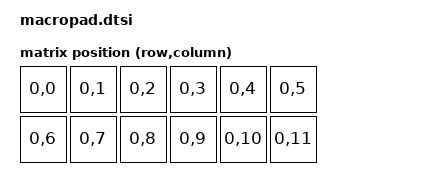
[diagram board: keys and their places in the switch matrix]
#include <dt-bindings/zmk/matrix_transform.h>
#include "macropad-layouts.dtsi"

/ {
	chosen {
		zmk,kscan = &kscan0;
		zmk,matrix_transform = &default_transform;
		zmk,physical-layout = &physical_layout0;
	};

	default_transform: keymap_transform_0 {
		compatible = "zmk,matrix-transform";
		columns = <12>;
		rows = <1>;
	    map = <
			RC(0,0)  RC(0,1)  RC(0,2)  RC(0,3)  RC(0,4)  RC(0,5)
      RC(0,6)  RC(0,7)  RC(0,8)  RC(0,9)  RC(0,10) RC(0,11)
		>;
	};

    kscan0: kscan {
        compatible = "zmk,kscan-gpio-direct";
        debounce-press-ms = <10>;
        debounce-release-ms = <10>;
        wakeup-source;
    };
};
